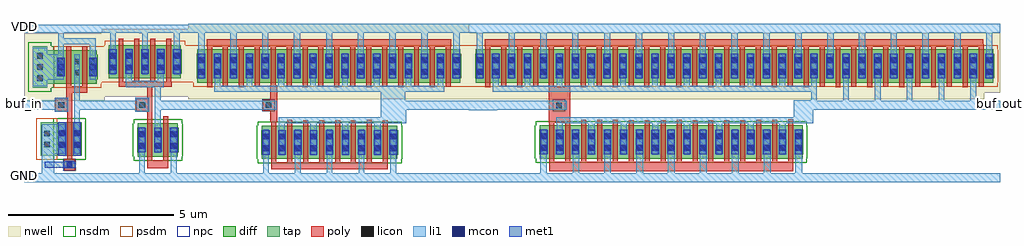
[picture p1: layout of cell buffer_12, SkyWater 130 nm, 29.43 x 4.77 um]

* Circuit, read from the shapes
.subckt buffer_12 GND VDD buf_in buf_out
XM1 buffer_1_1/inv_W2_0/Vin buf_in GND GND sky130_fd_pr__nfet_01v8 w=1 l=0.15
XM2 buffer_1_1/inv_W2_0/Vout buffer_1_1/inv_W2_0/Vin GND GND sky130_fd_pr__nfet_01v8 w=1 l=0.15 m=2
XM3 n1 buffer_1_1/inv_W2_0/Vout GND GND sky130_fd_pr__nfet_01v8 w=1 l=0.15 m=8
XM4 buf_out n1 GND GND sky130_fd_pr__nfet_01v8 w=1 l=0.15 m=16
XM5 buffer_1_1/inv_W2_0/Vin buf_in VDD VDD sky130_fd_pr__pfet_01v8 w=1 l=0.15 m=2
XM6 buffer_1_1/inv_W2_0/Vout buffer_1_1/inv_W2_0/Vin VDD VDD sky130_fd_pr__pfet_01v8 w=1 l=0.15 m=4
XM7 n1 buffer_1_1/inv_W2_0/Vout VDD VDD sky130_fd_pr__pfet_01v8 w=1 l=0.15 m=16
XM8 buf_out n1 VDD VDD sky130_fd_pr__pfet_01v8 w=1 l=0.15 m=32
.ends

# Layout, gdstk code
import gdstk
lib = gdstk.Library(unit=1e-6, precision=1e-09)
def R(c, l, rs):  # rectangles x0, y0, x1, y1
    for r in rs: c.add(gdstk.rectangle(r[:2], r[2:], *l))
def A(c, l, x, y, w, h, nx, ny, dx, dy):  # array of equal rectangles
    R(c, l, [(x+i*dx, y+j*dy, x+i*dx+w, y+j*dy+h) for i in range(nx) for j in range(ny)])
nwell = (64, 20)
diff = (65, 20)
tap = (65, 44)
poly = (66, 20)
licon = (66, 44)
li1 = (67, 20)
mcon = (67, 44)
met1 = (68, 20)
nsdm = (93, 44)
psdm = (94, 20)
npc = (95, 20)

sky130_fd_pr__pfet_01v8_ = lib.new_cell('sky130_fd_pr__pfet_01v8_3M44SC')
R(sky130_fd_pr__pfet_01v8_, nwell, [(-8.005,-1,7.525,-0.81), (-8.005,-0.81,8.005,0.81), (-7.525,0.81,8.005,1)])
R(sky130_fd_pr__pfet_01v8_, diff, [(-7.805,-0.5,7.805,-0.37), (-7.825,-0.37,7.825,0.37), (-7.805,0.37,7.805,0.5)])
A(sky130_fd_pr__pfet_01v8_, poly, -7.515, -0.64, 0.15, 1.27, 16, 1, 0.96, 0)
A(sky130_fd_pr__pfet_01v8_, poly, -7.035, -0.63, 0.15, 1.28, 16, 1, 0.96, 0)
A(sky130_fd_pr__pfet_01v8_, licon, -7.765, -0.255, 0.17, 0.17, 33, 2, 0.48, 0.34)
A(sky130_fd_pr__pfet_01v8_, li1, -7.765, -0.39, 0.17, 0.78, 33, 1, 0.48, 0)
A(sky130_fd_pr__pfet_01v8_, mcon, -7.765, -0.265, 0.17, 0.17, 33, 2, 0.48, 0.36)
A(sky130_fd_pr__pfet_01v8_, met1, -7.795, -0.37, 0.23, 0.74, 33, 1, 0.48, 0)
R(sky130_fd_pr__pfet_01v8_, psdm, [(-7.93,-0.625,7.93,-0.495), (-7.95,-0.495,7.95,0.495), (-7.93,0.495,7.93,0.625)])

sky130_fd_pr__nfet_01v8_ = lib.new_cell('sky130_fd_pr__nfet_01v8_VJWT33')
R(sky130_fd_pr__nfet_01v8_, diff, [(-3.965,-0.5,3.965,-0.37), (-3.985,-0.37,3.985,0.37), (-3.965,0.37,3.965,0.5)])
A(sky130_fd_pr__nfet_01v8_, poly, -2.715, -0.59, 0.15, 1.26, 3, 1, 0.48, 0)
A(sky130_fd_pr__nfet_01v8_, poly, -1.275, -0.59, 0.15, 1.25, 3, 1, 0.48, 0)
A(sky130_fd_pr__nfet_01v8_, poly, 0.645, -0.59, 0.15, 1.25, 4, 1, 0.48, 0)
R(sky130_fd_pr__nfet_01v8_, poly, [(-3.675,-0.88,3.685,-0.59), (-3.675,-0.59,-3.525,0.63), (-3.195,-0.59,-3.045,0.66), (0.165,-0.59,0.315,0.67), (2.565,-0.59,2.715,0.67), (3.045,-0.59,3.195,0.67), (3.525,-0.59,3.675,0.69)])
A(sky130_fd_pr__nfet_01v8_, licon, -3.925, -0.255, 0.17, 0.17, 17, 2, 0.48, 0.34)
A(sky130_fd_pr__nfet_01v8_, li1, -3.445, -0.39, 0.17, 0.78, 8, 1, 0.96, 0)
R(sky130_fd_pr__nfet_01v8_, li1, [(-2.975,-1.09,-2.765,-0.36), (-2.025,-1.07,-1.815,-0.34), (-3.955,-1.05,-3.745,-0.32), (3.745,-1.05,3.955,-0.32), (-0.105,-1.04,0.105,-0.31), (0.855,-1.04,1.065,-0.31), (1.825,-1.02,2.035,-0.29), (2.785,-1.02,2.995,-0.29), (-1.055,-1.01,-0.845,-0.28), (-2.965,-0.36,-2.795,0.39), (-2.005,-0.34,-1.835,0.39), (-3.925,-0.32,-3.755,0.39), (3.755,-0.32,3.925,0.39), (-0.085,-0.31,0.085,0.39), (0.875,-0.31,1.045,0.39), (1.835,-0.29,2.005,0.39), (2.795,-0.29,2.965,0.39), (-1.045,-0.28,-0.875,0.39)])
A(sky130_fd_pr__nfet_01v8_, mcon, -3.925, -0.265, 0.17, 0.17, 17, 2, 0.48, 0.36)
A(sky130_fd_pr__nfet_01v8_, met1, -3.955, -0.37, 0.23, 0.74, 17, 1, 0.48, 0)
R(sky130_fd_pr__nfet_01v8_, nsdm, [(-4.09,-0.625,4.09,-0.495), (-4.11,-0.495,4.11,0.495), (-4.09,0.495,4.09,0.625)])

inv_w16 = lib.new_cell('inv_W16')
A(inv_w16, nwell, 4.49, 2.9, 0.17, 0.23, 3, 1, 1.92, 0)
R(inv_w16, nwell, [(2.99,2.73,9.29,2.9), (3.53,2.9,3.7,3.15), (5.45,2.9,5.62,3.15), (7.37,2.9,7.54,3.14), (0.41,4.07,15.44,4.3)])
R(inv_w16, poly, [(2.34,1.79,2.98,2.87), (0.41,4.08,15.44,4.31)])
R(inv_w16, licon, [(2.56,2.23,2.73,2.4)])
A(inv_w16, li1, 1.61, 2.9, 0.17, 0.25, 3, 1, 1.92, 0)
A(inv_w16, li1, 2.57, 2.9, 0.17, 0.23, 4, 1, 1.92, 0)
A(inv_w16, li1, 0.16, 3.85, 0.19, 0.66, 3, 1, 0.96, 0)
R(inv_w16, li1, [(-0.07,0,15.94,0.26), (3.53,1.5,3.72,1.77), (5.45,1.51,5.64,1.77), (4.5,1.52,4.69,1.77), (7.38,1.52,7.57,1.77), (6.41,1.54,6.6,1.77), (8.33,1.54,8.52,1.77), (9.29,1.54,9.48,1.77), (2.57,1.57,2.76,1.77), (2.56,1.77,10.31,1.95), (9.72,1.95,10.31,2.18), (-0.07,2.17,0.76,2.18), (-0.07,2.18,2.88,2.45), (9.72,2.18,15.94,2.46), (9.72,2.46,10.42,2.47), (11.21,2.46,11.38,3.17), (12.17,2.46,12.34,3.16), (13.13,2.46,13.3,3.15), (14.09,2.46,14.26,3.14), (15.05,2.46,15.22,3.16), (10.25,2.47,10.42,2.73), (0.64,2.73,10.42,2.9), (0.65,2.9,0.82,3.14), (7.37,2.9,7.54,3.14), (9.29,2.9,9.46,3.14), (10.25,2.9,10.42,3.16), (12.64,3.8,12.83,4.51), (4,3.83,4.19,4.51), (6.88,3.83,7.07,4.51), (8.8,3.83,8.99,4.51), (11.68,3.83,11.87,4.51), (13.6,3.83,13.79,4.51), (3.04,3.84,3.23,4.51), (4.96,3.84,5.15,4.51), (7.84,3.84,8.03,4.51), (9.77,3.84,9.96,4.51), (10.73,3.84,10.92,4.51), (14.56,3.84,14.75,4.51), (15.52,3.84,15.71,4.51), (5.93,3.85,6.12,4.51), (-0.07,4.51,15.94,4.77)])
R(inv_w16, npc, [(2.46,2.13,2.83,2.5)])
inv_w16.add(gdstk.Reference(sky130_fd_pr__pfet_01v8_, (7.935,3.5)))
inv_w16.add(gdstk.Reference(sky130_fd_pr__nfet_01v8_, (6.025,1.21)))

c_sky130_fd_pr__pfet_01v8_ = lib.new_cell('sky130_fd_pr__pfet_01v8_RL4NCG')
R(c_sky130_fd_pr__pfet_01v8_, nwell, [(-4.165,-1,3.685,-0.81), (-4.165,-0.81,4.165,0.81), (-3.685,0.81,4.165,1)])
R(c_sky130_fd_pr__pfet_01v8_, diff, [(-3.965,-0.5,3.965,-0.37), (-3.985,-0.37,3.985,0.37), (-3.965,0.37,3.965,0.5)])
A(c_sky130_fd_pr__pfet_01v8_, poly, -3.675, -0.64, 0.15, 1.27, 8, 1, 0.96, 0)
A(c_sky130_fd_pr__pfet_01v8_, poly, -3.195, -0.63, 0.15, 1.28, 8, 1, 0.96, 0)
A(c_sky130_fd_pr__pfet_01v8_, licon, -3.925, -0.255, 0.17, 0.17, 17, 2, 0.48, 0.34)
A(c_sky130_fd_pr__pfet_01v8_, li1, -3.925, -0.39, 0.17, 0.78, 17, 1, 0.48, 0)
A(c_sky130_fd_pr__pfet_01v8_, mcon, -3.925, -0.265, 0.17, 0.17, 17, 2, 0.48, 0.36)
A(c_sky130_fd_pr__pfet_01v8_, met1, -3.955, -0.37, 0.23, 0.74, 17, 1, 0.48, 0)
R(c_sky130_fd_pr__pfet_01v8_, psdm, [(-4.09,-0.625,4.09,-0.495), (-4.11,-0.495,4.11,0.495), (-4.09,0.495,4.09,0.625)])

c_sky130_fd_pr__nfet_01v8_ = lib.new_cell('sky130_fd_pr__nfet_01v8_KZU588')
R(c_sky130_fd_pr__nfet_01v8_, diff, [(-2.045,-0.5,2.045,-0.37), (-2.065,-0.37,2.065,0.37), (-2.045,0.37,2.045,0.5)])
A(c_sky130_fd_pr__nfet_01v8_, poly, -0.795, -0.6, 0.15, 1.27, 4, 1, 0.48, 0)
R(c_sky130_fd_pr__nfet_01v8_, poly, [(-1.765,-0.81,1.755,-0.6), (-1.755,-0.6,-1.605,0.68), (-1.275,-0.6,-1.125,0.68), (1.125,-0.6,1.275,0.68), (1.605,-0.6,1.755,0.67)])
A(c_sky130_fd_pr__nfet_01v8_, licon, -2.005, -0.255, 0.17, 0.17, 9, 2, 0.48, 0.34)
A(c_sky130_fd_pr__nfet_01v8_, li1, -2.005, -0.39, 0.17, 0.78, 9, 1, 0.48, 0)
R(c_sky130_fd_pr__nfet_01v8_, li1, [(1.605,0.58,1.755,0.67)])
A(c_sky130_fd_pr__nfet_01v8_, mcon, -2.005, -0.265, 0.17, 0.17, 9, 2, 0.48, 0.36)
A(c_sky130_fd_pr__nfet_01v8_, met1, -2.035, -0.37, 0.23, 0.74, 9, 1, 0.48, 0)
R(c_sky130_fd_pr__nfet_01v8_, nsdm, [(-2.17,-0.625,2.17,-0.495), (-2.19,-0.495,2.19,0.495), (-2.17,0.495,2.17,0.625)])

inv_w8 = lib.new_cell('inv_W8')
R(inv_w8, nwell, [(1.77,2.5,10.25,4.77)])
R(inv_w8, poly, [(4.24,1.82,4.46,2.15), (4.02,2.15,4.46,2.49), (4.24,2.49,4.46,2.92), (2.33,4.08,9.7,4.31)])
R(inv_w8, licon, [(4.105,2.235,4.275,2.405)])
A(inv_w8, li1, 2.57, 2.9, 0.17, 0.23, 4, 1, 1.92, 0)
R(inv_w8, li1, [(1.77,0,10.25,0.26), (4.03,0.26,4.2,0.84), (4.99,0.26,5.16,0.87), (5.95,0.26,6.12,0.84), (6.91,0.26,7.08,0.87), (7.87,0.26,8.04,0.85), (5.45,1.51,5.64,1.77), (4.5,1.52,4.69,1.77), (7.38,1.52,7.57,1.77), (6.41,1.54,6.6,1.77), (4.5,1.77,8.34,1.95), (7.58,1.95,8.34,2.18), (1.77,2.18,4.44,2.45), (7.58,2.18,10.25,2.46), (7.58,2.46,8.32,2.73), (2.56,2.73,9.49,2.9), (3.53,2.9,3.7,3.15), (5.45,2.9,5.62,3.15), (7.37,2.9,7.54,3.14), (9.29,2.9,9.46,3.14), (4,3.83,4.19,4.51), (6.88,3.83,7.07,4.51), (8.8,3.83,8.99,4.51), (3.04,3.84,3.23,4.51), (4.96,3.84,5.15,4.51), (7.84,3.84,8.03,4.51), (9.77,3.84,9.96,4.51), (2.08,3.85,2.27,4.51), (5.93,3.85,6.12,4.51), (1.77,4.51,10.25,4.77)])
R(inv_w8, npc, [(4.005,2.135,4.375,2.505)])
inv_w8.add(gdstk.Reference(c_sky130_fd_pr__pfet_01v8_, (6.015,3.5)))
inv_w8.add(gdstk.Reference(c_sky130_fd_pr__nfet_01v8_, (6.035,1.2)))

buffer_2 = lib.new_cell('buffer_2')
R(buffer_2, nwell, [(8.33,2.5,10.08,4.5)])
R(buffer_2, li1, [(24.25,2.18,24.48,2.46)])
R(buffer_2, psdm, [(8.335,2.875,8.545,3.005), (8.355,3.005,8.525,3.995), (8.335,3.995,8.545,4.125)])
buffer_2.add(gdstk.Reference(inv_w16, (8.54,0)))
buffer_2.add(gdstk.Reference(inv_w8, (-1.77,0)))
buffer_2.add(gdstk.Label('Vout', (24.48,2.32), layer=67, texttype=5))

c_sky130_fd_pr__pfet_01v8__ = lib.new_cell('sky130_fd_pr__pfet_01v8_AC5Z8B')
R(c_sky130_fd_pr__pfet_01v8__, nwell, [(-1.305,-1.05,1.315,1)])
R(c_sky130_fd_pr__pfet_01v8__, diff, [(-1.085,-0.5,1.085,-0.37), (-1.105,-0.37,1.105,0.37), (-1.085,0.37,1.085,0.5)])
A(c_sky130_fd_pr__pfet_01v8__, poly, -0.795, -0.6, 0.15, 1.29, 4, 1, 0.48, 0)
R(c_sky130_fd_pr__pfet_01v8__, poly, [(0.075,-1.04,0.225,-0.76), (-0.795,-0.76,0.805,-0.6)])
A(c_sky130_fd_pr__pfet_01v8__, licon, -1.045, -0.255, 0.17, 0.17, 5, 2, 0.48, 0.34)
A(c_sky130_fd_pr__pfet_01v8__, li1, -1.045, -0.39, 0.17, 1.35, 3, 1, 0.96, 0)
R(c_sky130_fd_pr__pfet_01v8__, li1, [(-1.305,-3.63,-1.115,-3.37), (1.125,-3.63,1.315,-3.37), (-1.305,-1.45,-1.125,-1.17), (1.085,-1.45,1.315,-1.17), (0.305,-1.1,0.475,-0.77), (-0.575,-0.77,0.565,-0.58), (-0.575,-0.58,-0.395,-0.34), (0.385,-0.58,0.565,-0.32), (-0.565,-0.34,-0.395,0.39), (0.395,-0.32,0.565,0.39), (-1.305,0.87,-1.185,1.12), (1.145,0.87,1.315,1.12)])
A(c_sky130_fd_pr__pfet_01v8__, mcon, -1.045, -0.265, 0.17, 0.17, 5, 2, 0.48, 0.36)
A(c_sky130_fd_pr__pfet_01v8__, met1, -1.075, -0.37, 0.23, 0.74, 5, 1, 0.48, 0)
R(c_sky130_fd_pr__pfet_01v8__, psdm, [(-1.21,-0.625,1.21,-0.495), (-1.23,-0.495,1.23,0.495), (-1.21,0.495,1.21,0.625)])

c_sky130_fd_pr__nfet_01v8__ = lib.new_cell('sky130_fd_pr__nfet_01v8_XJTKXQ')
R(c_sky130_fd_pr__nfet_01v8__, diff, [(-0.605,-0.5,0.605,-0.37), (-0.625,-0.37,0.625,0.37), (-0.605,0.37,0.605,0.5)])
R(c_sky130_fd_pr__nfet_01v8__, poly, [(-0.315,-0.61,-0.165,0.61), (0.165,-0.61,0.315,0.61)])
A(c_sky130_fd_pr__nfet_01v8__, licon, -0.565, -0.255, 0.17, 0.17, 3, 2, 0.48, 0.34)
A(c_sky130_fd_pr__nfet_01v8__, li1, -0.565, -0.39, 0.17, 0.78, 3, 1, 0.48, 0)
A(c_sky130_fd_pr__nfet_01v8__, mcon, -0.565, -0.265, 0.17, 0.17, 3, 2, 0.48, 0.36)
A(c_sky130_fd_pr__nfet_01v8__, met1, -0.595, -0.37, 0.23, 0.74, 3, 1, 0.48, 0)
R(c_sky130_fd_pr__nfet_01v8__, nsdm, [(-0.73,-0.625,0.73,-0.495), (-0.75,-0.495,0.75,0.495), (-0.73,0.495,0.73,0.625)])

inv_w2 = lib.new_cell('inv_W2')
R(inv_w2, poly, [(0.78,0.06,1.41,0.3), (0.78,1.49,0.93,1.76), (1.26,1.5,1.41,1.63), (0.42,1.76,0.93,2.18), (0.78,2.18,0.93,2.27)])
R(inv_w2, licon, [(0.54,1.88,0.71,2.05)])
R(inv_w2, li1, [(-0.5,-0.36,1.94,-0.1), (0.53,-0.1,0.7,0.57), (1.49,-0.1,1.66,0.58), (1.01,1.3,1.18,1.82), (0.42,1.76,0.84,1.82), (-0.5,1.82,0.84,2.1), (1.01,1.82,1.94,2.1), (0.42,2.1,0.84,2.18), (1.01,2.1,1.18,2.27), (0.53,4.13,0.7,4.14), (-0.5,4.14,1.94,4.39)])
R(inv_w2, npc, [(0.44,1.78,0.81,2.15)])
inv_w2.add(gdstk.Reference(c_sky130_fd_pr__pfet_01v8__, (0.705,3.27)))
inv_w2.add(gdstk.Reference(c_sky130_fd_pr__nfet_01v8__, (1.095,0.91)))
inv_w2.add(gdstk.Label('Vin', (-0.5,1.95), layer=67, texttype=5))
inv_w2.add(gdstk.Label('Vout', (1.94,1.96), layer=67, texttype=5))
inv_w2.add(gdstk.Label('GND', (-0.5,-0.23), layer=67, texttype=5))
inv_w2.add(gdstk.Label('VDD', (-0.5,4.27), layer=67, texttype=5))

pmos_2uf2 = lib.new_cell('pmos_2uf2')
R(pmos_2uf2, nwell, [(-1.585,-1.01,0.845,1.02)])
R(pmos_2uf2, diff, [(-0.695,-0.5,0.605,-0.37), (-0.695,-0.37,0.625,0.37), (-0.695,0.37,0.605,0.5)])
R(pmos_2uf2, tap, [(-1.335,-0.62,-0.895,-0.5), (-1.335,-0.5,-0.695,0.5), (-1.335,0.5,-0.895,0.62)])
R(pmos_2uf2, poly, [(-0.315,-0.65,-0.165,0.63), (0.165,-0.65,0.315,0.63)])
A(pmos_2uf2, licon, -1.2, -0.425, 0.17, 0.17, 1, 3, 0, 0.34)
A(pmos_2uf2, licon, -0.565, -0.255, 0.17, 0.17, 3, 2, 0.48, 0.34)
R(pmos_2uf2, li1, [(-1.335,-0.58,-0.895,-0.39), (-1.335,-0.39,-0.395,0.39), (-0.085,-0.39,0.085,0.39), (0.395,-0.39,0.565,0.39), (-1.335,0.39,-0.895,0.58)])
R(pmos_2uf2, mcon, [(-0.565,-0.085,-0.395,0.085), (0.395,-0.085,0.565,0.085)])
R(pmos_2uf2, met1, [(-0.595,-0.28,-0.365,0.28), (0.365,-0.28,0.595,0.28)])
R(pmos_2uf2, nsdm, [(-1.46,-0.745,-0.77,-0.625), (-1.46,-0.625,-0.695,0.625), (-1.46,0.625,-0.77,0.745)])
R(pmos_2uf2, psdm, [(-0.695,-0.625,0.73,-0.495), (-0.695,-0.495,0.75,0.495), (-0.695,0.495,0.73,0.625)])

c_sky130_fd_pr__nfet_01v8___ = lib.new_cell('sky130_fd_pr__nfet_01v8_7RYEVP')
R(c_sky130_fd_pr__nfet_01v8___, diff, [(-0.365,-0.345,0.365,0.655)])
R(c_sky130_fd_pr__nfet_01v8___, poly, [(-0.165,-0.785,0.165,-0.455), (-0.075,-0.455,0.075,0.785)])
R(c_sky130_fd_pr__nfet_01v8___, licon, [(-0.085,-0.705,0.085,-0.535), (-0.305,-0.1,-0.135,0.07), (0.135,-0.1,0.305,0.07), (-0.305,0.24,-0.135,0.41), (0.135,0.24,0.305,0.41)])
R(c_sky130_fd_pr__nfet_01v8___, li1, [(-0.165,-0.705,0.165,-0.535), (-0.305,-0.285,-0.135,0.595), (0.135,-0.285,0.305,0.595)])
R(c_sky130_fd_pr__nfet_01v8___, mcon, [(-0.085,-0.705,0.085,-0.535), (-0.305,-0.11,-0.135,0.06), (0.135,-0.11,0.305,0.06), (-0.305,0.25,-0.135,0.42), (0.135,0.25,0.305,0.42)])
R(c_sky130_fd_pr__nfet_01v8___, met1, [(-0.145,-0.735,0.145,-0.505), (-0.335,-0.345,-0.105,0.655), (0.105,-0.345,0.335,0.655)])
R(c_sky130_fd_pr__nfet_01v8___, nsdm, [(-0.49,-0.47,0.49,0.78)])
R(c_sky130_fd_pr__nfet_01v8___, npc, [(-0.185,-0.805,0.185,-0.435)])

nmos_1u = lib.new_cell('nmos_1u')
R(nmos_1u, diff, [(-0.06,0.37,-0.05,1.37)])
R(nmos_1u, tap, [(-0.56,0.37,-0.06,1.37)])
R(nmos_1u, licon, [(-0.45,0.615,-0.28,0.785), (-0.45,0.955,-0.28,1.125)])
R(nmos_1u, li1, [(-0.53,0.43,0.01,1.31)])
R(nmos_1u, met1, [(-0.43,0.01,0.48,0.18)])
R(nmos_1u, nsdm, [(-0.06,0.245,0.075,1.495)])
R(nmos_1u, psdm, [(-0.685,0.245,-0.06,1.495)])
nmos_1u.add(gdstk.Reference(c_sky130_fd_pr__nfet_01v8___, (0.315,0.715)))

inv_w1 = lib.new_cell('inv_W1')
R(inv_w1, nwell, [(-0.5,2.1,-0.49,4.13), (0.78,2.16,1.41,2.47), (0.53,3.79,1.67,3.97)])
R(inv_w1, poly, [(0.8,1.49,0.95,1.76), (0.42,1.76,0.95,2.18), (0.78,2.18,0.95,2.33), (0.78,2.33,1.41,2.53)])
R(inv_w1, licon, [(0.54,1.88,0.71,2.05)])
R(inv_w1, li1, [(-0.5,-0.36,1.94,-0.1), (0.03,-0.1,0.41,0.57), (1.01,1.3,1.18,1.82), (0.42,1.76,0.84,1.82), (-0.5,1.82,0.84,2.1), (1.01,1.82,1.94,2.1), (0.42,2.1,0.84,2.18), (1.01,2.1,1.18,2.78), (0.53,2.89,0.7,3.79), (1.49,3.42,1.67,3.79), (0.53,3.79,1.67,3.97), (0.53,3.97,0.7,4.14), (-0.5,4.14,1.94,4.39)])
R(inv_w1, npc, [(0.44,1.78,0.81,2.15)])
inv_w1.add(gdstk.Reference(pmos_2uf2, (1.095,3.11)))
inv_w1.add(gdstk.Reference(nmos_1u, (0.56,0.07)))
inv_w1.add(gdstk.Label('Vin', (-0.5,1.95), layer=67, texttype=5))
inv_w1.add(gdstk.Label('Vout', (1.94,1.96), layer=67, texttype=5))
inv_w1.add(gdstk.Label('VDD', (-0.5,4.27), layer=67, texttype=5))
inv_w1.add(gdstk.Label('GND', (-0.5,-0.23), layer=67, texttype=5))

buffer_1 = lib.new_cell('buffer_1')
R(buffer_1, psdm, [(2.345,3.005,2.435,3.135), (2.345,3.135,2.415,3.965), (2.325,3.965,2.415,4.095)])
buffer_1.add(gdstk.Reference(inv_w2, (2.94,0.36)))
buffer_1.add(gdstk.Reference(inv_w1, (0.5,0.36)))

buffer_12 = lib.new_cell('buffer_12')
R(buffer_12, li1, [(0,0,0.18,0.26), (0,2.18,0.26,2.46), (29.14,2.18,29.43,2.46), (0,4.5,0.22,4.75)])
R(buffer_12, psdm, [(4.855,3.005,5.085,3.135), (4.875,3.135,5.085,3.995), (4.875,3.995,5.105,4.125)])
buffer_12.add(gdstk.Reference(buffer_2, (4.95,0)))
buffer_12.add(gdstk.Reference(buffer_1, (0,0)))
buffer_12.add(gdstk.Label('GND', (0,0.2), layer=67, texttype=5))
buffer_12.add(gdstk.Label('buf_out', (29.43,2.38), layer=67, texttype=5))
buffer_12.add(gdstk.Label('buf_in', (0,2.38), layer=67, texttype=5))
buffer_12.add(gdstk.Label('VDD', (0,4.69), layer=67, texttype=5))

lib.write_gds('buffer_12.gds')
